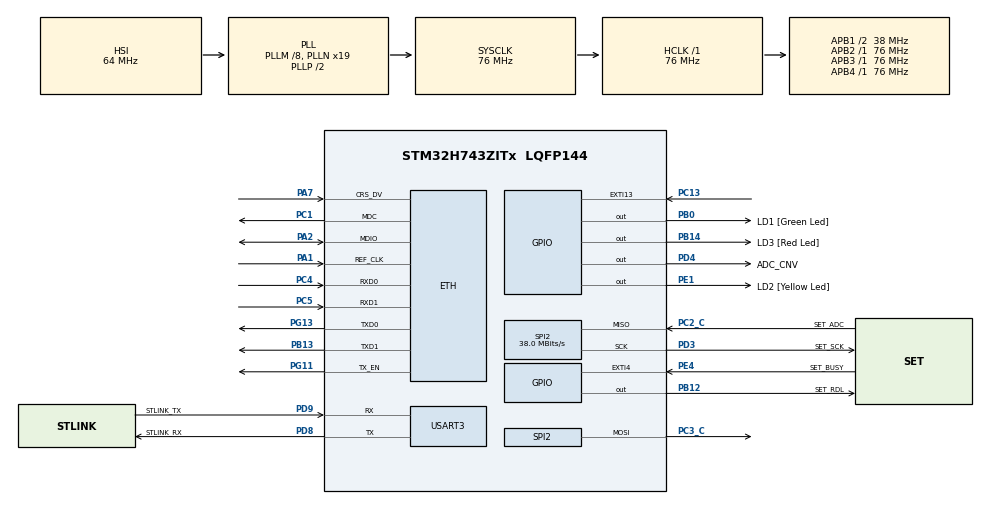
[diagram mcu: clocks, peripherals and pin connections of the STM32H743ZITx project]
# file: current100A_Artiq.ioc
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CORTEX_M7.AccessPermission-Cortex_Memory_Protection_Unit_Region0_Settings=MPU_REGION_FULL_ACCESS
CORTEX_M7.AccessPermission-Cortex_Memory_Protection_Unit_Region1_Settings=MPU_REGION_FULL_ACCESS
CORTEX_M7.BaseAddress-Cortex_Memory_Protection_Unit_Region0_Settings=0x30040000
CORTEX_M7.BaseAddress-Cortex_Memory_Protection_Unit_Region1_Settings=0x30044000
CORTEX_M7.CPU_DCache=Enabled
CORTEX_M7.CPU_ICache=Enabled
CORTEX_M7.Enable-Cortex_Memory_Protection_Unit_Region0_Settings=MPU_REGION_ENABLE
CORTEX_M7.Enable-Cortex_Memory_Protection_Unit_Region1_Settings=MPU_REGION_ENABLE
CORTEX_M7.IsBufferable-Cortex_Memory_Protection_Unit_Region0_Settings=MPU_ACCESS_BUFFERABLE
CORTEX_M7.IsShareable-Cortex_Memory_Protection_Unit_Region1_Settings=MPU_ACCESS_SHAREABLE
CORTEX_M7.MPU_Control=MPU_PRIVILEGED_DEFAULT
CORTEX_M7.Size-Cortex_Memory_Protection_Unit_Region0_Settings=MPU_REGION_SIZE_256B
CORTEX_M7.Size-Cortex_Memory_Protection_Unit_Region1_Settings=MPU_REGION_SIZE_16KB
CORTEX_M7.TypeExtField-Cortex_Memory_Protection_Unit_Region1_Settings=MPU_TEX_LEVEL1
ETH.MACAddr=02\:00\:00\:00\:00\:01
ETH.MediaInterface=HAL_ETH_RMII_MODE
FREERTOS.Tasks01=Start,0,512,StartThread,Default,NULL,Dynamic,NULL,NULL
FREERTOS.configUSE_NEWLIB_REENTRANT=0
LWIP.BSP.number=1
LWIP.IP_ADDRESS=192.168.003.111
LWIP.LWIP_DHCP=0
LWIP.NETMASK_ADDRESS=255.255.255.000
LWIP.Version=v2.1.2_Cube
LWIP0.BSP.STBoard=false
LWIP0.BSP.api=BSP_COMPONENT_DRIVER
LWIP0.BSP.component=LAN8742
LWIP0.BSP.instance=LAN8742
LWIP0.BSP.name=Driver_PHY
LWIP0.BSP.solution=LAN8742
Mcu.Family=STM32H7
Mcu.Name=STM32H743ZITx
Mcu.Package=LQFP144
NVIC.ETH_IRQn=true\:5\:0\:false\:false\:true\:true\:true\:true\:true
NVIC.EXTI15_10_IRQn=true\:7\:0\:true\:false\:true\:true\:true\:true\:true
NVIC.PriorityGroup=NVIC_PRIORITYGROUP_4
NVIC.TIM6_DAC_IRQn=true\:15\:0\:false\:false\:true\:false\:false\:true\:true
NVIC.TimeBase=TIM6_DAC_IRQn
NVIC.TimeBaseIP=TIM6
PA1.GPIO_Speed=GPIO_SPEED_FREQ_HIGH
PA1.Mode=RMII
PA1.Signal=ETH_REF_CLK
PA2.GPIO_Speed=GPIO_SPEED_FREQ_HIGH
PA2.Mode=RMII
PA2.Signal=ETH_MDIO
PA7.GPIO_Speed=GPIO_SPEED_FREQ_HIGH
PA7.Mode=RMII
PA7.Signal=ETH_CRS_DV
PB0.GPIO_Label=LD1 [Green Led]
PB0.GPIO_Speed=GPIO_SPEED_FREQ_VERY_HIGH
PB0.Signal=GPIO_Output
PB12.GPIO_Label=SET_RDL
PB12.Signal=GPIO_Output
PB13.GPIO_Speed=GPIO_SPEED_FREQ_HIGH
PB13.Mode=RMII
PB13.Signal=ETH_TXD1
PB14.GPIO_Label=LD3 [Red Led]
PB14.GPIO_Speed=GPIO_SPEED_FREQ_VERY_HIGH
PB14.Signal=GPIO_Output
PC1.GPIO_Speed=GPIO_SPEED_FREQ_HIGH
PC1.Mode=RMII
PC1.Signal=ETH_MDC
PC13.Signal=GPXTI13
PC2_C.GPIO_Label=SET_ADC
PC2_C.Mode=Full_Duplex_Master
PC2_C.Signal=SPI2_MISO
PC3_C.Mode=Full_Duplex_Master
PC3_C.Signal=SPI2_MOSI
PC4.GPIO_Speed=GPIO_SPEED_FREQ_HIGH
PC4.Mode=RMII
PC4.Signal=ETH_RXD0
PC5.GPIO_Speed=GPIO_SPEED_FREQ_HIGH
PC5.Mode=RMII
PC5.Signal=ETH_RXD1
PD3.GPIO_Label=SET_SCK
PD3.Mode=Full_Duplex_Master
PD3.Signal=SPI2_SCK
PD4.GPIO_Label=ADC_CNV
PD4.Signal=GPIO_Output
PD8.GPIO_Label=STLINK_RX
PD8.GPIO_Speed=GPIO_SPEED_FREQ_HIGH
PD8.Mode=Asynchronous
PD8.Signal=USART3_TX
PD9.GPIO_Label=STLINK_TX
PD9.GPIO_Speed=GPIO_SPEED_FREQ_HIGH
PD9.Mode=Asynchronous
PD9.Signal=USART3_RX
PE1.GPIO_Label=LD2 [Yellow Led]
PE1.GPIO_Speed=GPIO_SPEED_FREQ_VERY_HIGH
PE1.Signal=GPIO_Output
PE4.GPIO_Label=SET_BUSY
PE4.Signal=GPXTI4
PG11.GPIO_Speed=GPIO_SPEED_FREQ_HIGH
PG11.Mode=RMII
PG11.Signal=ETH_TX_EN
PG13.GPIO_Speed=GPIO_SPEED_FREQ_HIGH
PG13.Mode=RMII
PG13.Signal=ETH_TXD0
PH0-OSC_IN\ (PH0).Mode=HSE-External-Clock-Source
PH0-OSC_IN\ (PH0).Signal=RCC_OSC_IN
ProjectManager.HeapSize=0x200
ProjectManager.StackSize=0x400
ProjectManager.TargetToolchain=STM32CubeIDE
RCC.ADCFreq_Value=129000000
RCC.APB1Freq_Value=38000000
RCC.APB2Freq_Value=76000000
RCC.APB3Freq_Value=76000000
RCC.APB4Freq_Value=76000000
RCC.CortexFreq_Value=76000000
RCC.D2PPRE1=RCC_APB1_DIV2
RCC.DIVM1=8
RCC.DIVN1=19
RCC.HCLKFreq_Value=76000000
RCC.HSE_VALUE=8000000
RCC.SYSCLKFreq_VALUE=76000000
RCC.SYSCLKSource=RCC_SYSCLKSOURCE_PLLCLK
RCC.Tim2Mul=1
RCC.USBFreq_Value=76000000
SPI2.CalculateBaudRate=38.0 MBits/s
SPI2.DataSize=SPI_DATASIZE_8BIT
SPI2.Direction=SPI_DIRECTION_2LINES
SPI2.Mode=SPI_MODE_MASTER
SPI2.VirtualType=VM_MASTER
USART3.VirtualMode-Asynchronous=VM_ASYNC
VP_FREERTOS_VS_CMSIS_V1.Mode=CMSIS_V1
VP_LWIP_VS_Enabled.Mode=Enabled
VP_SYS_VS_tim6.Mode=TIM6
board=NUCLEO-H743ZI2

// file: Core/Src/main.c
/* USER CODE BEGIN Header */
/**
  ******************************************************************************
  * @file           : main.c
  * @brief          : Main program body
  ******************************************************************************
  * @attention
  *
  * <h2><center>&copy; Copyright (c) 2021 STMicroelectronics.
  * All rights reserved.</center></h2>
  *
  * This software component is licensed by ST under BSD 3-Clause license,
  * the "License"; You may not use this file except in compliance with the
  * License. You may obtain a copy of the License at:
  *                        opensource.org/licenses/BSD-3-Clause
  *
  ******************************************************************************
  */
/* USER CODE END Header */
#include "main.h"
#include "cmsis_os.h"
#include "lwip.h"

/* USER CODE BEGIN Includes */
#include "lwip/sockets.h"

#include <string.h>
#include <stdio.h>
#include <stdlib.h>
#include "cmd_parser.h"
/* USER CODE END Includes */

/* USER CODE BEGIN PD */
#define PORT	22
#define MAX(a,b) (((a)>(b))?(a):(b))
/* USER CODE END PD */

SPI_HandleTypeDef hspi2;

UART_HandleTypeDef huart3;

osThreadId StartHandle;
/* USER CODE BEGIN PV */
osThreadId ClientHandle;
int sock;
struct sockaddr_in address;
err_t err = -1;

char uart_bufT[1000];
//char uart_bufR[100];
int uart_buf_len;

/* USER CODE END PV */

void SystemClock_Config(void);
static void MPU_Config(void);
static void MX_GPIO_Init(void);
static void MX_USART3_UART_Init(void);
static void MX_SPI2_Init(void);
void StartThread(void const * argument);

/* USER CODE BEGIN PFP */
void AcceptanceNewClient(void const * argument);
void debug_msg(char * msg);
/* USER CODE END PFP */

int main(void)
{

  /* MPU Configuration--------------------------------------------------------*/
  MPU_Config();
/* Enable the CPU Cache */

  /* Enable I-Cache---------------------------------------------------------*/
  SCB_EnableICache();

  /* Enable D-Cache---------------------------------------------------------*/
  SCB_EnableDCache();

  /* MCU Configuration--------------------------------------------------------*/

  /* Reset of all peripherals, Initializes the Flash interface and the Systick. */
  HAL_Init();

  /* Configure the system clock */
  SystemClock_Config();

  /* Initialize all configured peripherals */
  MX_GPIO_Init();
  MX_USART3_UART_Init();
  MX_SPI2_Init();
  /* USER CODE BEGIN 2 */
  debug_msg("******** Start Nucleo ******************");
  init_params();

  /* USER CODE END 2 */

  /* Create the thread(s) */
  /* definition and creation of Start */
  osThreadDef(Start, StartThread, osPriorityNormal, 0, 512);
  StartHandle = osThreadCreate(osThread(Start), NULL);

  /* Start scheduler */
  osKernelStart();

  /* We should never get here as control is now taken by the scheduler */
  /* Infinite loop */
  while (1)
  {

  }
}

void SystemClock_Config(void)
{
  RCC_OscInitTypeDef RCC_OscInitStruct = {0};
  RCC_ClkInitTypeDef RCC_ClkInitStruct = {0};

  /** Supply configuration update enable
  */
  HAL_PWREx_ConfigSupply(PWR_LDO_SUPPLY);

  /** Configure the main internal regulator output voltage
  */
  __HAL_PWR_VOLTAGESCALING_CONFIG(PWR_REGULATOR_VOLTAGE_SCALE3);

  while(!__HAL_PWR_GET_FLAG(PWR_FLAG_VOSRDY)) {}

  /** Initializes the RCC Oscillators according to the specified parameters
  * in the RCC_OscInitTypeDef structure.
  */
  RCC_OscInitStruct.OscillatorType = RCC_OSCILLATORTYPE_HSI;
  RCC_OscInitStruct.HSIState = RCC_HSI_DIV1;
  RCC_OscInitStruct.HSICalibrationValue = RCC_HSICALIBRATION_DEFAULT;
  RCC_OscInitStruct.PLL.PLLState = RCC_PLL_ON;
  RCC_OscInitStruct.PLL.PLLSource = RCC_PLLSOURCE_HSI;
  RCC_OscInitStruct.PLL.PLLM = 8;
  RCC_OscInitStruct.PLL.PLLN = 19;
  RCC_OscInitStruct.PLL.PLLP = 2;
  RCC_OscInitStruct.PLL.PLLQ = 2;
  RCC_OscInitStruct.PLL.PLLR = 2;
  RCC_OscInitStruct.PLL.PLLRGE = RCC_PLL1VCIRANGE_3;
  RCC_OscInitStruct.PLL.PLLVCOSEL = RCC_PLL1VCOMEDIUM;
  RCC_OscInitStruct.PLL.PLLFRACN = 0;
  if (HAL_RCC_OscConfig(&RCC_OscInitStruct) != HAL_OK)
  {
    Error_Handler();
  }

  /** Initializes the CPU, AHB and APB buses clocks
  */
  RCC_ClkInitStruct.ClockType = RCC_CLOCKTYPE_HCLK|RCC_CLOCKTYPE_SYSCLK
                              |RCC_CLOCKTYPE_PCLK1|RCC_CLOCKTYPE_PCLK2
                              |RCC_CLOCKTYPE_D3PCLK1|RCC_CLOCKTYPE_D1PCLK1;
  RCC_ClkInitStruct.SYSCLKSource = RCC_SYSCLKSOURCE_PLLCLK;
  RCC_ClkInitStruct.SYSCLKDivider = RCC_SYSCLK_DIV1;
  RCC_ClkInitStruct.AHBCLKDivider = RCC_HCLK_DIV1;
  RCC_ClkInitStruct.APB3CLKDivider = RCC_APB3_DIV1;
  RCC_ClkInitStruct.APB1CLKDivider = RCC_APB1_DIV2;
  RCC_ClkInitStruct.APB2CLKDivider = RCC_APB2_DIV1;
  RCC_ClkInitStruct.APB4CLKDivider = RCC_APB4_DIV1;

  if (HAL_RCC_ClockConfig(&RCC_ClkInitStruct, FLASH_LATENCY_1) != HAL_OK)
  {
    Error_Handler();
  }
}

static void MX_SPI2_Init(void)
{

  /* SPI2 parameter configuration*/
  hspi2.Instance = SPI2;
  hspi2.Init.Mode = SPI_MODE_MASTER;
  hspi2.Init.Direction = SPI_DIRECTION_2LINES;
  hspi2.Init.DataSize = SPI_DATASIZE_8BIT;
  hspi2.Init.CLKPolarity = SPI_POLARITY_LOW;
  hspi2.Init.CLKPhase = SPI_PHASE_1EDGE;
  hspi2.Init.NSS = SPI_NSS_SOFT;
  hspi2.Init.BaudRatePrescaler = SPI_BAUDRATEPRESCALER_2;
  hspi2.Init.FirstBit = SPI_FIRSTBIT_MSB;
  hspi2.Init.TIMode = SPI_TIMODE_DISABLE;
  hspi2.Init.CRCCalculation = SPI_CRCCALCULATION_DISABLE;
  hspi2.Init.CRCPolynomial = 0x0;
  hspi2.Init.NSSPMode = SPI_NSS_PULSE_ENABLE;
  hspi2.Init.NSSPolarity = SPI_NSS_POLARITY_LOW;
  hspi2.Init.FifoThreshold = SPI_FIFO_THRESHOLD_01DATA;
  hspi2.Init.TxCRCInitializationPattern = SPI_CRC_INITIALIZATION_ALL_ZERO_PATTERN;
  hspi2.Init.RxCRCInitializationPattern = SPI_CRC_INITIALIZATION_ALL_ZERO_PATTERN;
  hspi2.Init.MasterSSIdleness = SPI_MASTER_SS_IDLENESS_00CYCLE;
  hspi2.Init.MasterInterDataIdleness = SPI_MASTER_INTERDATA_IDLENESS_00CYCLE;
  hspi2.Init.MasterReceiverAutoSusp = SPI_MASTER_RX_AUTOSUSP_DISABLE;
  hspi2.Init.MasterKeepIOState = SPI_MASTER_KEEP_IO_STATE_DISABLE;
  hspi2.Init.IOSwap = SPI_IO_SWAP_DISABLE;
  if (HAL_SPI_Init(&hspi2) != HAL_OK)
  {
    Error_Handler();
  }

}

static void MX_USART3_UART_Init(void)
{

  huart3.Instance = USART3;
  huart3.Init.BaudRate = 115200;
  huart3.Init.WordLength = UART_WORDLENGTH_8B;
  huart3.Init.StopBits = UART_STOPBITS_1;
  huart3.Init.Parity = UART_PARITY_NONE;
  huart3.Init.Mode = UART_MODE_TX_RX;
  huart3.Init.HwFlowCtl = UART_HWCONTROL_NONE;
  huart3.Init.OverSampling = UART_OVERSAMPLING_16;
  huart3.Init.OneBitSampling = UART_ONE_BIT_SAMPLE_DISABLE;
  huart3.Init.ClockPrescaler = UART_PRESCALER_DIV1;
  huart3.AdvancedInit.AdvFeatureInit = UART_ADVFEATURE_NO_INIT;
  if (HAL_UART_Init(&huart3) != HAL_OK)
  {
    Error_Handler();
  }
  if (HAL_UARTEx_SetTxFifoThreshold(&huart3, UART_TXFIFO_THRESHOLD_1_8) != HAL_OK)
  {
    Error_Handler();
  }
  if (HAL_UARTEx_SetRxFifoThreshold(&huart3, UART_RXFIFO_THRESHOLD_1_8) != HAL_OK)
  {
    Error_Handler();
  }
  if (HAL_UARTEx_DisableFifoMode(&huart3) != HAL_OK)
  {
    Error_Handler();
  }

}

static void MX_GPIO_Init(void)
{
  GPIO_InitTypeDef GPIO_InitStruct = {0};

  /* GPIO Ports Clock Enable */
  __HAL_RCC_GPIOE_CLK_ENABLE();
  __HAL_RCC_GPIOC_CLK_ENABLE();
  __HAL_RCC_GPIOH_CLK_ENABLE();
  __HAL_RCC_GPIOA_CLK_ENABLE();
  __HAL_RCC_GPIOB_CLK_ENABLE();
  __HAL_RCC_GPIOD_CLK_ENABLE();
  __HAL_RCC_GPIOG_CLK_ENABLE();

  /*Configure GPIO pin Output Level */
  HAL_GPIO_WritePin(GPIOB, LD1_Pin|SET_RDL_Pin|LD3_Pin, GPIO_PIN_RESET);

  /*Configure GPIO pin Output Level */
  HAL_GPIO_WritePin(ADC_CNV_GPIO_Port, ADC_CNV_Pin, GPIO_PIN_RESET);

  /*Configure GPIO pin Output Level */
  HAL_GPIO_WritePin(LD2_GPIO_Port, LD2_Pin, GPIO_PIN_RESET);

  /*Configure GPIO pin : SET_BUSY_Pin */
  GPIO_InitStruct.Pin = SET_BUSY_Pin;
  GPIO_InitStruct.Mode = GPIO_MODE_IT_RISING;
  GPIO_InitStruct.Pull = GPIO_NOPULL;
  HAL_GPIO_Init(SET_BUSY_GPIO_Port, &GPIO_InitStruct);

  /*Configure GPIO pin : PC13 */
  GPIO_InitStruct.Pin = GPIO_PIN_13;
  GPIO_InitStruct.Mode = GPIO_MODE_IT_RISING;
  GPIO_InitStruct.Pull = GPIO_NOPULL;
  HAL_GPIO_Init(GPIOC, &GPIO_InitStruct);

  /*Configure GPIO pins : LD1_Pin LD3_Pin */
  GPIO_InitStruct.Pin = LD1_Pin|LD3_Pin;
  GPIO_InitStruct.Mode = GPIO_MODE_OUTPUT_PP;
  GPIO_InitStruct.Pull = GPIO_NOPULL;
  GPIO_InitStruct.Speed = GPIO_SPEED_FREQ_VERY_HIGH;
  HAL_GPIO_Init(GPIOB, &GPIO_InitStruct);

  /*Configure GPIO pin : SET_RDL_Pin */
  GPIO_InitStruct.Pin = SET_RDL_Pin;
  GPIO_InitStruct.Mode = GPIO_MODE_OUTPUT_PP;
  GPIO_InitStruct.Pull = GPIO_NOPULL;
  GPIO_InitStruct.Speed = GPIO_SPEED_FREQ_LOW;
  HAL_GPIO_Init(SET_RDL_GPIO_Port, &GPIO_InitStruct);

  /*Configure GPIO pin : ADC_CNV_Pin */
  GPIO_InitStruct.Pin = ADC_CNV_Pin;
  GPIO_InitStruct.Mode = GPIO_MODE_OUTPUT_PP;
  GPIO_InitStruct.Pull = GPIO_NOPULL;
  GPIO_InitStruct.Speed = GPIO_SPEED_FREQ_LOW;
  HAL_GPIO_Init(ADC_CNV_GPIO_Port, &GPIO_InitStruct);

  /*Configure GPIO pin : LD2_Pin */
  GPIO_InitStruct.Pin = LD2_Pin;
  GPIO_InitStruct.Mode = GPIO_MODE_OUTPUT_PP;
  GPIO_InitStruct.Pull = GPIO_NOPULL;
  GPIO_InitStruct.Speed = GPIO_SPEED_FREQ_VERY_HIGH;
  HAL_GPIO_Init(LD2_GPIO_Port, &GPIO_InitStruct);

  /* EXTI interrupt init*/
  HAL_NVIC_SetPriority(EXTI15_10_IRQn, 7, 0);
  HAL_NVIC_EnableIRQ(EXTI15_10_IRQn);

}

/* USER CODE BEGIN 4 */

void AcceptanceNewClient(void const * argument)
{
	char msg[100] = {};
	char send_msg[100] = {};
	char umsg[100] = {};
	int state = 1;
	int conn = *(int *)argument;

	debug_msg("acceptancenewclient");
	while(1)
	{
		memset(msg, 0, sizeof msg);
		memset(send_msg, 0, sizeof send_msg);
		state = read(conn, (char*)msg, sizeof(msg)-1);
		sprintf(umsg, "state= %d", state);
		debug_msg(umsg);

		if(state <= 0){
			close(conn);
			osThreadTerminate(NULL);
		}
		else{
			cmd_parse(msg, send_msg);
			write(conn, send_msg, strlen(send_msg));
		}
		osDelay(100);
	}
}

void debug_msg(char * msg){
	uart_buf_len = sprintf(uart_bufT, "%s \r\n", msg);
	HAL_UART_Transmit(&huart3, (uint8_t*)uart_bufT, uart_buf_len, 100);
}
/* USER CODE END 4 */

void StartThread(void const * argument)
{
  /* init code for LWIP */
  MX_LWIP_Init();
  /* USER CODE BEGIN 5 */

  sock = socket(AF_INET, SOCK_STREAM, 0);

  address.sin_family = AF_INET;
  address.sin_port = htons(PORT);
  address.sin_addr.s_addr = INADDR_ANY;

  err = bind(sock, (struct sockaddr *)&address, sizeof (address));
  err = listen(sock, 0);

  // create the acceptance thread
  osThreadDef(Acceptance, AcceptanceNewClient, osPriorityLow, 0, configMINIMAL_STACK_SIZE * 4);

  /* Infinite loop */
  for(;;)
  {
		int g =  accept(sock, NULL, NULL);
		if(g < 0){
			osDelay(100);
			continue;
		}
		ClientHandle = osThreadCreate(osThread(Acceptance), &g);
		debug_msg("new connection...! \r\n");
		HAL_GPIO_TogglePin(LD1_GPIO_Port, LD1_Pin);
		osDelay(100);
  }
  /* USER CODE END 5 */
}

/* MPU Configuration */

void MPU_Config(void)
{
  MPU_Region_InitTypeDef MPU_InitStruct = {0};

  /* Disables the MPU */
  HAL_MPU_Disable();

  /** Initializes and configures the Region and the memory to be protected
  */
  MPU_InitStruct.Enable = MPU_REGION_ENABLE;
  MPU_InitStruct.Number = MPU_REGION_NUMBER0;
  MPU_InitStruct.BaseAddress = 0x30040000;
  MPU_InitStruct.Size = MPU_REGION_SIZE_256B;
  MPU_InitStruct.SubRegionDisable = 0x0;
  MPU_InitStruct.TypeExtField = MPU_TEX_LEVEL0;
  MPU_InitStruct.AccessPermission = MPU_REGION_FULL_ACCESS;
  MPU_InitStruct.DisableExec = MPU_INSTRUCTION_ACCESS_ENABLE;
  MPU_InitStruct.IsShareable = MPU_ACCESS_NOT_SHAREABLE;
  MPU_InitStruct.IsCacheable = MPU_ACCESS_NOT_CACHEABLE;
  MPU_InitStruct.IsBufferable = MPU_ACCESS_BUFFERABLE;

  HAL_MPU_ConfigRegion(&MPU_InitStruct);

  /** Initializes and configures the Region and the memory to be protected
  */
  MPU_InitStruct.Number = MPU_REGION_NUMBER1;
  MPU_InitStruct.BaseAddress = 0x30044000;
  MPU_InitStruct.Size = MPU_REGION_SIZE_16KB;
  MPU_InitStruct.TypeExtField = MPU_TEX_LEVEL1;
  MPU_InitStruct.IsShareable = MPU_ACCESS_SHAREABLE;
  MPU_InitStruct.IsBufferable = MPU_ACCESS_NOT_BUFFERABLE;

  HAL_MPU_ConfigRegion(&MPU_InitStruct);
  /* Enables the MPU */
  HAL_MPU_Enable(MPU_PRIVILEGED_DEFAULT);

}

void HAL_TIM_PeriodElapsedCallback(TIM_HandleTypeDef *htim)
{
  if (htim->Instance == TIM6) {
    HAL_IncTick();
  }
}

void Error_Handler(void)
{
  __disable_irq();
  while (1)
  {
  }
}
